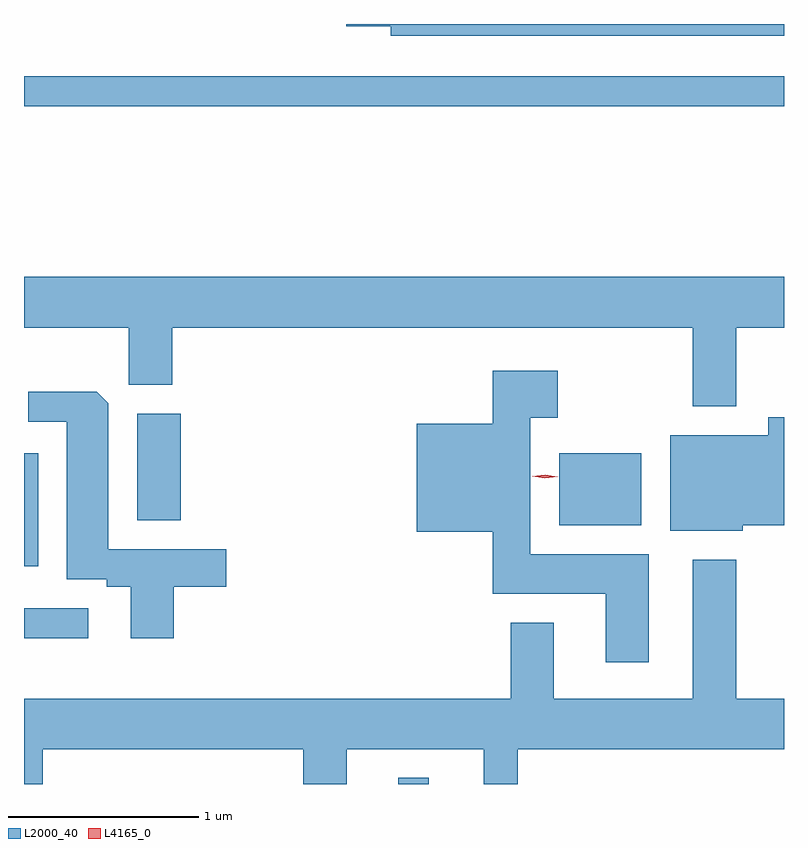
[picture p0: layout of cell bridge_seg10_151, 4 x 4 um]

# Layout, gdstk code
import gdstk
lib = gdstk.Library(unit=1e-6, precision=1e-09)
def R(c, l, rs):  # rectangles x0, y0, x1, y1
    for r in rs: c.add(gdstk.rectangle(r[:2], r[2:], *l))
def P(c, l, *ps):  # polygons
    for p in ps: c.add(gdstk.Polygon(p, *l))
L2000_40 = (2000, 40)
L4165_0 = (4165, 0)

bridge_seg10_151 = lib.new_cell('bridge_seg10_151')
R(bridge_seg10_151, L2000_40, [(1557.901,2082.654,1558.059,2082.688), (1555.93,2083.421,1556.268,2083.579), (1555.93,2083.801,1556.004,2084.394), (1558.746,2084.016,1559.179,2084.394), (1556.526,2084.041,1556.754,2084.604), (1555.93,2086.221,1559.93,2086.379)])
P(bridge_seg10_151, L2000_40, [(1559.93,2086.654),(1557.626,2086.654),(1557.626,2086.641),(1557.861,2086.641),(1557.861,2086.591),(1559.93,2086.591)],
  [(1559.679,2085.056),(1559.93,2085.056),(1559.93,2085.324),(1555.93,2085.324),(1555.93,2085.056),(1556.481,2085.056),(1556.481,2084.756),(1556.709,2084.756),(1556.709,2085.056),(1559.451,2085.056),(1559.451,2084.641),(1559.679,2084.641)],
  [(1559.219,2083.864),(1558.594,2083.864),(1558.594,2084.581),(1558.739,2084.581),(1558.739,2084.829),(1558.396,2084.829),(1558.396,2084.549),(1557.996,2084.549),(1557.996,2083.981),(1558.396,2083.981),(1558.396,2083.656),(1558.991,2083.656),(1558.991,2083.296),(1559.219,2083.296)],
  [(1556.719,2083.691),(1556.994,2083.691),(1556.994,2083.889),(1556.374,2083.889),(1556.374,2084.659),(1556.314,2084.719),(1555.953,2084.719),(1555.953,2084.561),(1556.156,2084.561),(1556.156,2083.731),(1556.366,2083.731),(1556.366,2083.691),(1556.491,2083.691),(1556.491,2083.421),(1556.719,2083.421)],
  [(1559.714,2084.016),(1559.93,2084.016),(1559.93,2084.584),(1559.846,2084.584),(1559.846,2084.489),(1559.331,2084.489),(1559.331,2083.986),(1559.714,2083.986)],
  [(1556.029,2082.836),(1557.401,2082.836),(1557.401,2082.654),(1557.629,2082.654),(1557.629,2082.836),(1558.351,2082.836),(1558.351,2082.654),(1558.529,2082.654),(1558.529,2082.836),(1559.93,2082.836),(1559.93,2083.104),(1559.679,2083.104),(1559.679,2083.834),(1559.451,2083.834),(1559.451,2083.104),(1558.719,2083.104),(1558.719,2083.504),(1558.491,2083.504),(1558.491,2083.104),(1555.93,2083.104),(1555.93,2082.654),(1556.029,2082.654)])
P(bridge_seg10_151, L4165_0, [(1558.672,2084.263),(1558.606,2084.273),(1558.606,2084.274),(1558.606,2084.274),(1558.673,2084.282),(1558.739,2084.272),(1558.739,2084.271),(1558.739,2084.271)])

lib.write_gds('bridge_seg10_151.gds')
